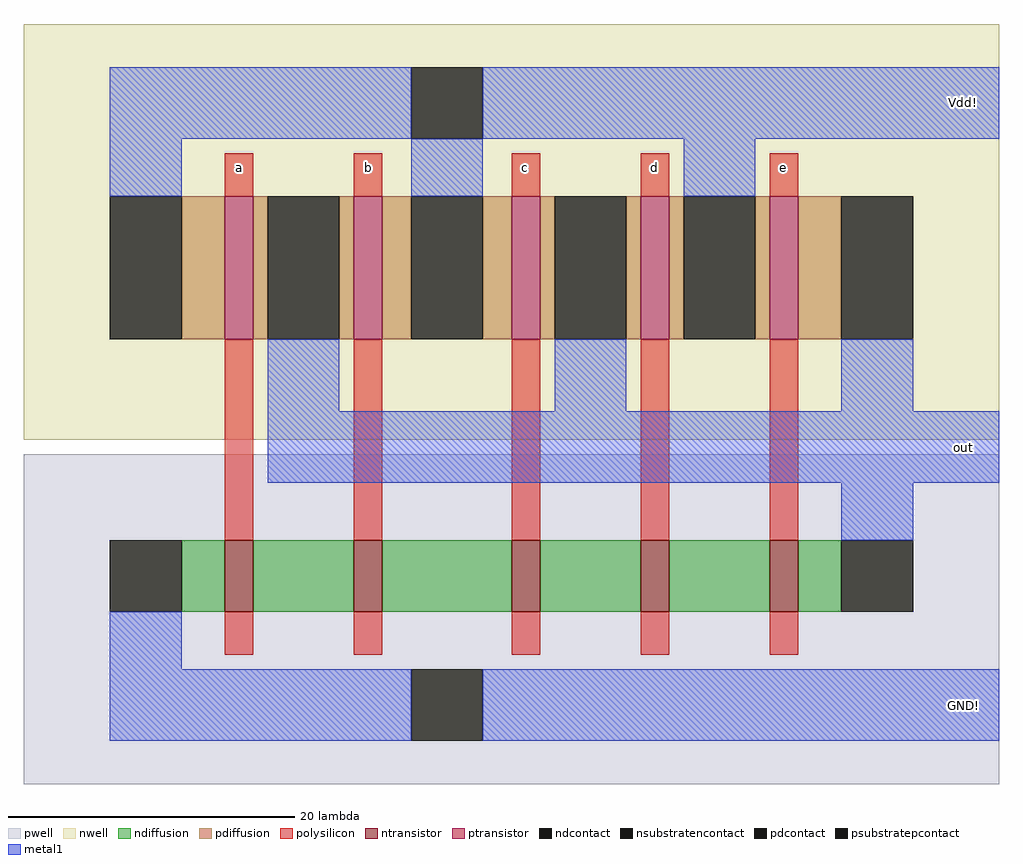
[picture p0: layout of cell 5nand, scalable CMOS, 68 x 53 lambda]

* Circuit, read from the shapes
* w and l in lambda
.subckt 5nand GND! Vdd! a b c d e out
M1 n1 a GND! GND! nfet w=5 l=2
M2 n2 b n1 GND! nfet w=5 l=2
M3 n3 c n2 GND! nfet w=5 l=2
M4 n4 d n3 GND! nfet w=5 l=2
M5 out e n4 GND! nfet w=5 l=2
M6 out a Vdd! Vdd! pfet w=10 l=2
M7 Vdd! b out Vdd! pfet w=10 l=2
M8 out c Vdd! Vdd! pfet w=10 l=2
M9 Vdd! d out Vdd! pfet w=10 l=2
M10 out e Vdd! Vdd! pfet w=10 l=2
.ends

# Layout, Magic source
magic
tech scmos
<< nwell >>
rect 72 54 140 83
<< pwell >>
rect 72 30 140 53
<< ntransistor >>
rect 86 42 88 47
rect 95 42 97 47
rect 106 42 108 47
rect 115 42 117 47
rect 124 42 126 47
<< ptransistor >>
rect 86 61 88 71
rect 95 61 97 71
rect 106 61 108 71
rect 115 61 117 71
rect 124 61 126 71
<< ndiffusion >>
rect 83 42 86 47
rect 88 42 95 47
rect 97 42 106 47
rect 108 42 115 47
rect 117 42 124 47
rect 126 42 129 47
<< pdiffusion >>
rect 83 61 86 71
rect 88 61 89 71
rect 94 61 95 71
rect 97 61 99 71
rect 104 61 106 71
rect 108 61 109 71
rect 114 61 115 71
rect 117 61 118 71
rect 123 61 124 71
rect 126 61 129 71
<< ndcontact >>
rect 78 42 83 47
rect 129 42 134 47
<< pdcontact >>
rect 78 61 83 71
rect 89 61 94 71
rect 99 61 104 71
rect 109 61 114 71
rect 118 61 123 71
rect 129 61 134 71
<< psubstratepcontact >>
rect 99 33 104 38
<< nsubstratencontact >>
rect 99 75 104 80
<< polysilicon >>
rect 86 71 88 74
rect 95 71 97 74
rect 106 71 108 74
rect 115 71 117 74
rect 124 71 126 74
rect 86 47 88 61
rect 95 47 97 61
rect 106 47 108 61
rect 115 47 117 61
rect 124 47 126 61
rect 86 39 88 42
rect 95 39 97 42
rect 106 39 108 42
rect 115 39 117 42
rect 124 39 126 42
<< metal1 >>
rect 78 75 99 80
rect 104 75 140 80
rect 78 71 83 75
rect 99 71 104 75
rect 118 71 123 75
rect 89 56 94 61
rect 109 56 114 61
rect 129 56 134 61
rect 89 51 140 56
rect 129 47 134 51
rect 78 38 83 42
rect 78 33 99 38
rect 104 33 140 38
<< labels >>
rlabel polysilicon 95 72 97 74 1 b
rlabel polysilicon 106 72 108 74 1 c
rlabel polysilicon 86 72 88 74 1 a
rlabel polysilicon 115 72 117 74 1 d
rlabel polysilicon 124 72 126 74 1 e
rlabel metal1 135 75 140 80 7 Vdd!
rlabel metal1 135 51 140 56 7 out
rlabel metal1 135 33 140 38 7 GND!
<< end >>
